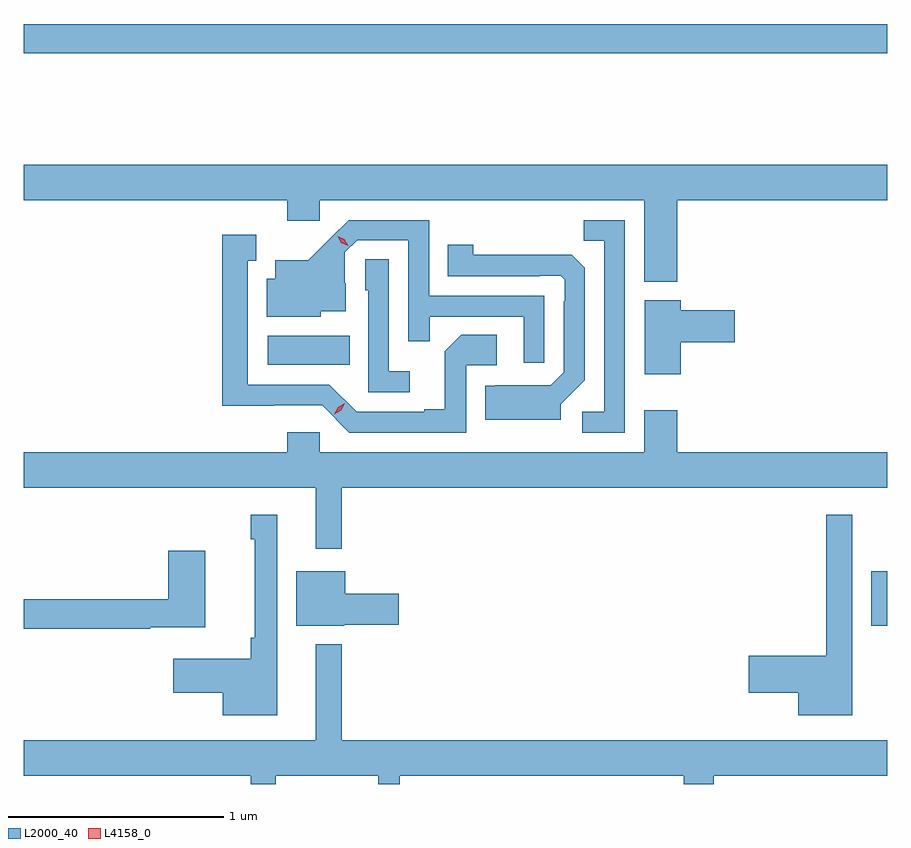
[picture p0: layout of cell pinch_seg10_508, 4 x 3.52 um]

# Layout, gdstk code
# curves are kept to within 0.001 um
import gdstk
lib = gdstk.Library(unit=1e-6, precision=1e-09)
def R(c, l, rs):  # rectangles x0, y0, x1, y1
    for r in rs: c.add(gdstk.rectangle(r[:2], r[2:], *l))
def P(c, l, *ps):  # polygons
    for p in ps: c.add(gdstk.Polygon(p, *l))
L2000_40 = (2000, 40)
L4158_0 = (4158, 0)

pinch_seg10_508 = lib.new_cell('pinch_seg10_508')
R(pinch_seg10_508, L2000_40, [(231.635,1263.713,231.709,1263.967), (228.84,1264.922,229.22,1265.056), (227.709,1266.364,231.709,1266.5)])
P(pinch_seg10_508, L2000_40, [(230.735,1265.684),(231.709,1265.684),(231.709,1265.848),(227.709,1265.848),(227.709,1265.684),(228.929,1265.684),(228.929,1265.589),(229.08,1265.589),(229.08,1265.684),(230.582,1265.684),(230.582,1265.306),(230.735,1265.306)],
  [(230.121,1265.241),(229.587,1265.241),(229.587,1265.592),(229.214,1265.592),(229.027,1265.407),(228.875,1265.407),(228.875,1265.32),(228.836,1265.32),(228.836,1265.144),(229.086,1265.144),(229.086,1265.171),(229.201,1265.171),(229.201,1265.3),(229.197,1265.3),(229.197,1265.442),(229.254,1265.499),(229.491,1265.499),(229.491,1265.032),(229.589,1265.032),(229.589,1265.145),(230.025,1265.145),(230.025,1264.932),(230.121,1264.932)],
  [(230.493,1265.592),(230.302,1265.592),(230.302,1265.497),(230.397,1265.497),(230.397,1264.704),(230.295,1264.704),(230.295,1264.608),(230.493,1264.608)],
  [(229.758,1264.92),(229.9,1264.92),(229.9,1265.06),(229.735,1265.06),(229.659,1264.984),(229.659,1264.717),(229.565,1264.717),(229.565,1264.704),(229.251,1264.704),(229.125,1264.83),(228.748,1264.83),(228.748,1265.403),(228.787,1265.403),(228.787,1265.524),(228.63,1265.524),(228.63,1264.733),(229.092,1264.734),(229.218,1264.608),(229.758,1264.608)],
  [(230.197,1264.74),(230.307,1264.85),(230.307,1265.372),(230.248,1265.431),(229.791,1265.432),(229.791,1265.479),(229.672,1265.479),(229.672,1265.331),(230.096,1265.331),(230.096,1265.334),(230.196,1265.334),(230.214,1265.316),(230.214,1265.216),(230.211,1265.216),(230.211,1264.887),(230.151,1264.827),(229.894,1264.828),(229.891,1264.825),(229.847,1264.825),(229.847,1264.667),(230.197,1264.667)],
  [(229.498,1264.891),(229.401,1264.891),(229.401,1265.411),(229.29,1265.411),(229.29,1265.268),(229.305,1265.268),(229.305,1264.794),(229.498,1264.794)],
  [(230.752,1265.027),(231.001,1265.027),(231.001,1265.174),(230.752,1265.174),(230.752,1265.221),(230.585,1265.221),(230.585,1264.878),(230.752,1264.878)],
  [(229.183,1264.352),(231.709,1264.352),(231.709,1264.516),(230.735,1264.516),(230.735,1264.711),(230.582,1264.711),(230.582,1264.516),(229.08,1264.516),(229.08,1264.609),(228.929,1264.609),(228.929,1264.516),(227.709,1264.516),(227.709,1264.352),(229.061,1264.352),(229.061,1264.071),(229.183,1264.071)],
  [(228.883,1264.228),(228.762,1264.228),(228.762,1264.115),(228.779,1264.115),(228.779,1263.658),(228.762,1263.658),(228.762,1263.562),(228.402,1263.562),(228.402,1263.404),(228.632,1263.404),(228.632,1263.299),(228.883,1263.299)],
  [(231.547,1264.228),(231.426,1264.228),(231.426,1263.575),(231.066,1263.575),(231.066,1263.404),(231.296,1263.404),(231.296,1263.299),(231.547,1263.299)],
  [(228.296,1263.707),(228.55,1263.707),(228.55,1264.06),(228.38,1264.06),(228.38,1263.836),(227.709,1263.836),(227.709,1263.7),(228.296,1263.7)],
  [(229.194,1263.719),(229.447,1263.719),(229.447,1263.861),(229.198,1263.861),(229.198,1263.967),(228.971,1263.967),(228.971,1263.713),(229.194,1263.713)],
  [(228.877,1263.02),(229.352,1263.02),(229.352,1262.981),(229.45,1262.981),(229.45,1263.02),(230.765,1263.02),(230.765,1262.981),(230.905,1262.981),(230.905,1263.02),(231.709,1263.02),(231.709,1263.184),(229.183,1263.184),(229.183,1263.628),(229.061,1263.628),(229.061,1263.184),(227.709,1263.184),(227.709,1263.02),(228.76,1263.02),(228.76,1262.981),(228.877,1262.981)])
P(pinch_seg10_508, L4158_0, [(229.212,1265.474),(229.181,1265.488),(229.164,1265.518),(229.164,1265.518),(229.164,1265.518),(229.195,1265.503),(229.212,1265.474),(229.212,1265.474)],
  [(229.148,1264.693),(229.148,1264.693),(229.165,1264.725),(229.197,1264.745),(229.197,1264.745),(229.197,1264.744),(229.18,1264.712),(229.148,1264.693)])

lib.write_gds('pinch_seg10_508.gds')
